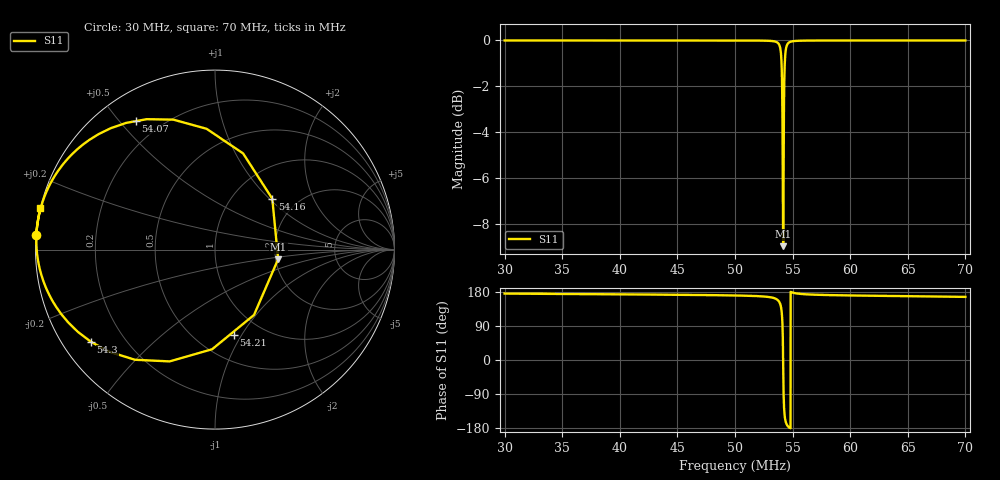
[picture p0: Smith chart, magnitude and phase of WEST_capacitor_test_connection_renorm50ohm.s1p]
! Touchstone file exported from Circuit Design 2022.2.0
!  File:  C:/Users/JH218595/Documents/Modeling/WEST ICRH/WEST_ICRH_Capacitor.aedt
!  Generated:  10:32:41  mars 24, 2024
!  Design:  WEST_capacitor_test_connection_HFSS
!  Project:  WEST_ICRH_Capacitor
!  Setup:  LinearFrequency
!  Solution:  LinearFrequency
! Variables:
!  C = 50pF
!  C1 = 25.7pF
!  L = 2.99e-08H
!  L1 = 2.4e-09H
!  R0 = 0.01ohm
!  R1 = 0.01ohm
# GHz S MA R 50.000000
! Terminal data exported
! Port[1] = Port1
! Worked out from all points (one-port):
!   4001 points, 30 MHz to 70 MHz, reference 50 ohm
!   lowest |S11| = -9.0 dB at 54.18 MHz (marker M1), VSWR 2.10, Z = 103 - j12.6 ohm
!   |S11| at or under -10 dB: nowhere
!   S11 on the Smith chart (normalised r, x): 30 MHz: 0.00, +0.04; 54.07 MHz: 0.11, +0.55; 54.16 MHz: 1.50, +1.04; 54.21 MHz: 0.74, -0.93; 54.3 MHz: 0.08, -0.33; 70 MHz: 0.00, +0.12
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0.03  0.9999 175.3
! Gamma 0 0
! Port Impedance 50 0
0.035  0.9999 174.3
0.04  0.9999 173.3
0.045  0.9999 172.1
0.05  0.9997 170.3
0.05261  0.9988 167.3
0.05322  0.9971 164.7
0.05359  0.9925 160.7
0.05383  0.9793 153.9
0.0539  0.9684 149.7
0.05395  0.9544 145.4
0.05401  0.9219 137.1
0.05407  0.8431 121.6
0.05416  0.4269 41.6
0.05418  0.3558 -8.6
0.05421  0.4886 -77.4
0.0543  0.8611 -143.4
0.05435  0.9213 -155.5
0.05439  0.9458 -161.5
0.05444  0.9634 -166.6
0.0545  0.9752 -170.7
0.05469  0.9899 -177.6
0.055  0.996 177.9
0.05551  0.9984 175.0
0.05634  0.9993 173.0
0.06  0.9998 170.3
0.065  0.9998 168.4
0.07  0.9998 166.5
